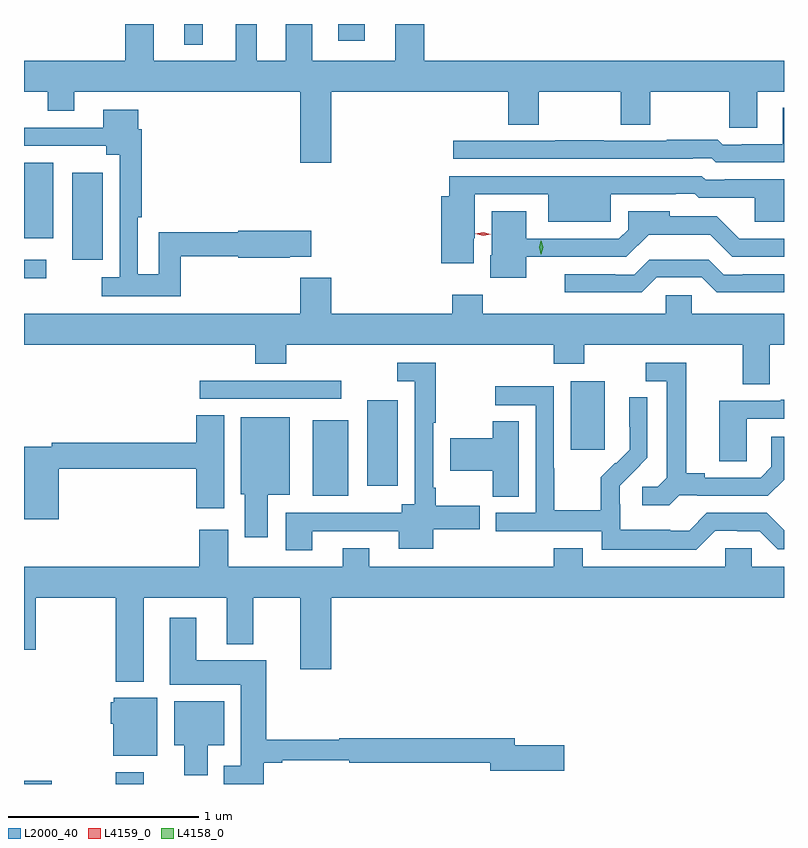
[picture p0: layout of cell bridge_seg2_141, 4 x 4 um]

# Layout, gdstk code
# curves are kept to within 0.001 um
import gdstk
lib = gdstk.Library(unit=1e-6, precision=1e-09)
def R(c, l, rs):  # rectangles x0, y0, x1, y1
    for r in rs: c.add(gdstk.rectangle(r[:2], r[2:], *l))
def P(c, l, *ps):  # polygons
    for p in ps: c.add(gdstk.Polygon(p, *l))
L2000_40 = (2000, 40)
L4158_0 = (4158, 0)
L4159_0 = (4159, 0)

bridge_seg2_141 = lib.new_cell('bridge_seg2_141')
R(bridge_seg2_141, L2000_40, [(367.351,657.313,367.497,657.331), (367.834,657.313,367.981,657.376), (368.87,658.829,369.058,659.227), (369.158,658.884,369.319,659.332), (370.229,659.073,370.408,659.434), (368.277,659.34,369.022,659.436), (367.351,659.976,367.468,660.072), (367.604,660.071,367.765,660.529), (367.351,660.185,367.504,660.583), (368.195,661.205,368.293,661.313), (369.005,661.224,369.145,661.313)])
P(bridge_seg2_141, L2000_40, [(368.968,660.956),(369.899,660.956),(369.899,660.784),(370.059,660.784),(370.059,660.956),(370.492,660.956),(370.492,660.784),(370.647,660.784),(370.647,660.956),(371.062,660.956),(371.062,660.766),(371.209,660.766),(371.209,660.956),(371.351,660.956),(371.351,661.12),(369.458,661.12),(369.458,661.313),(369.305,661.313),(369.305,661.12),(368.869,661.12),(368.869,661.313),(368.729,661.313),(368.729,661.12),(368.575,661.12),(368.575,661.313),(368.465,661.313),(368.465,661.12),(368.035,661.12),(368.035,661.313),(367.883,661.313),(367.883,661.12),(367.351,661.12),(367.351,660.956),(367.475,660.956),(367.475,660.857),(367.615,660.857),(367.615,660.956),(368.804,660.956),(368.804,660.582),(368.968,660.582)],
  [(371.351,660.871),(371.345,660.871),(371.345,660.681),(371.128,660.681),(371.128,660.678),(371.028,660.678),(371.002,660.704),(370.735,660.704),(370.735,660.699),(370.403,660.699),(370.403,660.702),(370.147,660.702),(370.147,660.699),(369.609,660.699),(369.609,660.603),(370.871,660.603),(370.871,660.606),(370.971,660.606),(370.992,660.585),(371.351,660.585)],
  [(368.177,660.09),(368.478,660.09),(368.478,660.082),(368.75,660.082),(368.75,660.089),(368.863,660.089),(368.863,660.224),(368.478,660.224),(368.478,660.218),(368.061,660.218),(368.061,659.996),(367.95,659.996),(367.95,660.295),(367.97,660.295),(367.97,660.758),(367.951,660.758),(367.951,660.862),(367.769,660.862),(367.769,660.768),(367.351,660.768),(367.351,660.672),(367.784,660.672),(367.784,660.626),(367.854,660.626),(367.854,659.98),(367.761,659.98),(367.761,659.88),(368.177,659.88)],
  [(369.718,660.186),(369.724,660.186),(369.724,660.417),(370.109,660.417),(370.109,660.272),(370.44,660.272),(370.44,660.417),(370.781,660.417),(370.781,660.419),(370.882,660.419),(370.902,660.399),(371.198,660.399),(371.198,660.272),(371.351,660.272),(371.351,660.496),(371.038,660.495),(371.038,660.492),(370.938,660.492),(370.917,660.513),(369.59,660.513),(369.59,660.406),(369.548,660.406),(369.548,660.054),(369.718,660.054)],
  [(369.994,660.087),(370.522,660.087),(370.638,660.203),(370.963,660.203),(371.079,660.087),(371.351,660.087),(371.351,660.183),(371.115,660.183),(370.998,660.3),(370.749,660.3),(370.749,660.328),(370.53,660.328),(370.53,660.231),(370.482,660.183),(369.994,660.183),(369.994,660.328),(369.812,660.328),(369.812,660.096),(369.806,660.096),(369.806,659.978),(369.994,659.978)],
  [(370.68,659.979),(370.917,659.979),(370.996,659.9),(371.351,659.901),(371.351,659.997),(371.134,659.997),(371.134,659.994),(371.034,659.994),(370.956,660.072),(370.641,660.072),(370.563,659.994),(370.463,659.994),(370.463,659.997),(370.197,659.997),(370.197,659.9),(370.601,659.9)],
  [(371.275,659.624),(371.351,659.624),(371.351,659.788),(370.866,659.788),(370.866,659.886),(370.728,659.886),(370.728,659.788),(369.765,659.788),(369.765,659.887),(369.605,659.887),(369.605,659.788),(368.968,659.788),(368.968,659.977),(368.804,659.977),(368.804,659.788),(367.351,659.788),(367.351,659.624),(368.567,659.624),(368.567,659.525),(368.732,659.525),(368.732,659.624),(370.139,659.624),(370.139,659.525),(370.299,659.525),(370.299,659.624),(371.135,659.624),(371.135,659.416),(371.275,659.416)],
  [(370.8,658.833),(370.894,658.833),(370.894,658.83),(371.266,658.83),(371.351,658.915),(371.351,659.14),(371.285,659.14),(371.285,658.983),(371.228,658.926),(370.933,658.926),(370.933,658.949),(370.837,658.949),(370.837,659.529),(370.623,659.529),(370.623,659.433),(370.733,659.433),(370.733,658.925),(370.686,658.878),(370.605,658.878),(370.605,658.781),(370.748,658.781)],
  [(368.869,658.644),(369.323,658.644),(369.323,658.55),(369.505,658.55),(369.505,658.655),(369.75,658.655),(369.75,658.777),(369.517,658.777),(369.517,658.873),(369.504,658.873),(369.504,659.215),(369.517,659.215),(369.517,659.529),(369.315,659.529),(369.315,659.433),(369.408,659.433),(369.408,658.786),(369.338,658.786),(369.338,658.74),(368.729,658.74),(368.729,658.542),(368.869,658.542)],
  [(370.989,658.647),(371.105,658.647),(371.105,658.644),(371.223,658.644),(371.319,658.548),(371.351,658.548),(371.351,658.648),(371.259,658.74),(370.944,658.74),(370.851,658.647),(370.751,658.647),(370.751,658.651),(370.488,658.651),(370.488,658.785),(370.486,658.785),(370.486,658.882),(370.632,659.03),(370.632,659.348),(370.536,659.348),(370.536,659.194),(370.538,659.194),(370.538,659.072),(370.467,659.001),(370.464,659.004),(370.387,658.927),(370.387,658.753),(370.143,658.753),(370.143,658.976),(370.14,658.976),(370.14,659.406),(369.831,659.406),(369.831,659.307),(370.044,659.307),(370.044,658.74),(369.835,658.74),(369.835,658.644),(370.392,658.644),(370.392,658.547),(370.889,658.547)],
  [(371.154,659.235),(371.351,659.235),(371.351,659.335),(371.333,659.335),(371.333,659.331),(371.009,659.331),(371.009,659.011),(371.154,659.011)],
  [(367.535,658.972),(368.258,658.972),(368.258,658.764),(368.404,658.764),(368.404,659.255),(368.258,659.255),(368.258,659.108),(367.498,659.108),(367.498,659.088),(367.352,659.088),(367.352,658.707),(367.535,658.707)],
  [(368.635,658.835),(368.749,658.835),(368.749,659.242),(368.492,659.242),(368.492,658.839),(368.513,658.839),(368.513,658.611),(368.635,658.611)],
  [(369.955,659.222),(369.817,659.222),(369.817,659.132),(369.594,659.132),(369.594,658.961),(369.817,658.961),(369.817,658.825),(369.955,658.825)],
  [(367.981,658.292),(368.417,658.292),(368.417,658.049),(368.557,658.049),(368.557,658.292),(368.804,658.292),(368.804,657.918),(368.968,657.918),(368.968,658.292),(371.351,658.292),(371.351,658.456),(371.181,658.456),(371.181,658.554),(371.043,658.554),(371.043,658.456),(370.291,658.456),(370.291,658.555),(370.139,658.555),(370.139,658.456),(369.169,658.456),(369.169,658.555),(369.029,658.555),(369.029,658.456),(368.425,658.456),(368.425,658.651),(368.273,658.651),(368.273,658.456),(367.351,658.456),(367.351,658.019),(367.413,658.019),(367.413,658.292),(367.834,658.292),(367.834,657.851),(367.981,657.851)],
  [(368.614,657.426),(368.71,657.426),(368.71,657.438),(369.064,657.438),(369.064,657.426),(369.806,657.426),(369.806,657.383),(370.195,657.383),(370.195,657.518),(369.934,657.518),(369.934,657.554),(369.01,657.554),(369.01,657.547),(368.627,657.547),(368.627,657.964),(368.257,657.964),(368.257,658.189),(368.117,658.189),(368.117,657.836),(368.492,657.836),(368.492,657.409),(368.402,657.409),(368.402,657.313),(368.614,657.313)],
  [(368.053,657.766),(367.824,657.766),(367.824,657.744),(367.808,657.744),(367.808,657.63),(367.82,657.63),(367.82,657.461),(368.053,657.461)],
  [(368.317,657.518),(368.404,657.518),(368.404,657.748),(368.141,657.748),(368.141,657.518),(368.195,657.518),(368.195,657.36),(368.317,657.36)])
P(bridge_seg2_141, L4158_0, [(370.073,660.101),(370.072,660.102),(370.063,660.137),(370.072,660.172),(370.073,660.172),(370.073,660.172),(370.083,660.137),(370.073,660.102)])
P(bridge_seg2_141, L4159_0, [(369.767,660.198),(369.727,660.21),(369.727,660.21),(369.727,660.21),(369.768,660.218),(369.807,660.206),(369.808,660.206),(369.807,660.206)])

lib.write_gds('bridge_seg2_141.gds')
